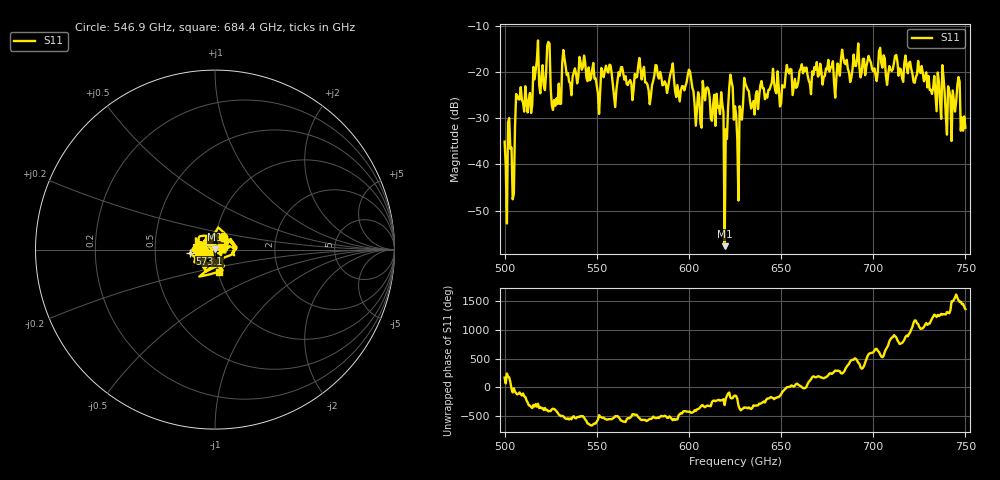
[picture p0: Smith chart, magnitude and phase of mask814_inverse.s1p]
!Created with skrf (http://scikit-rf.org).
# GHz S MA R 50.0
!freq magS11 angS11
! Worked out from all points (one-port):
!   401 points, 500 GHz to 750 GHz, reference 50 ohm
!   lowest |S11| = -57.7 dB at 619.4 GHz (marker M1), VSWR 1.00, Z = 50.1 + j0.104 ohm
!   |S11| at or under -10 dB: start of sweep to end of sweep
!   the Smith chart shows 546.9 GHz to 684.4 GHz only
!   S11 on the Smith chart (normalised r, x): 546.9 GHz: 1.08, +0.16; 573.1 GHz: 0.75, -0.03; 684.4 GHz: 1.02, -0.25
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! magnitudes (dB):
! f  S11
! 500 GHz  -35.1
! 504.4 GHz  -47.5
! 507.5 GHz  -25.9
! 513.8 GHz  -24.6
! 516.9 GHz  -19.5
! 520.6 GHz  -18.6
! 523.8 GHz  -13.5
! 526.9 GHz  -26.1
! 531.2 GHz  -18.2
! 546.9 GHz  -21.4
! 562.5 GHz  -20.8
! 573.1 GHz  -17.0
! 593.8 GHz  -22.8
! 600 GHz  -19.5
! 616.2 GHz  -27.5
! 619.4 GHz  -57.7
! 622.5 GHz  -20.6
! 625 GHz  -27.4
! 627.5 GHz  -27.4
! 631.2 GHz  -23.2
! 634.4 GHz  -27.1
! 656.2 GHz  -25.0
! 684.4 GHz  -18.1
! 687.5 GHz  -22.2
! 718.8 GHz  -20.3
! 741.2 GHz  -24.1
! 745.6 GHz  -22.9
! 750 GHz  -32.1
